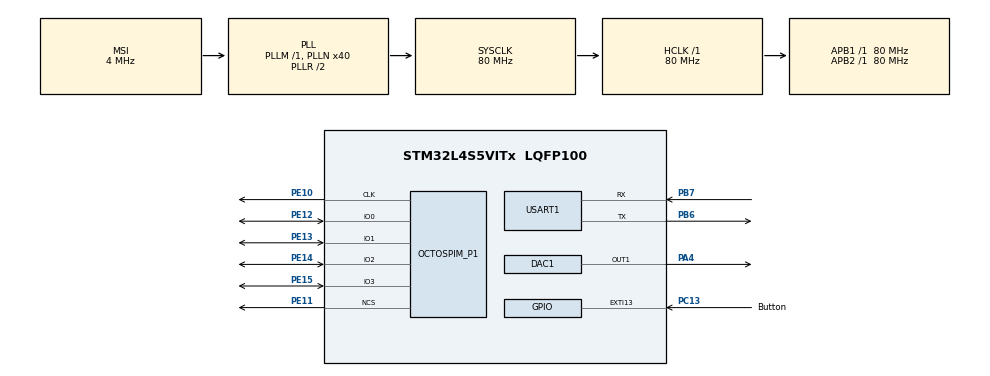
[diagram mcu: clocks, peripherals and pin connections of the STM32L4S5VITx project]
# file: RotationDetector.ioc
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ADC1.Channel-1\#ChannelRegularConversion=ADC_CHANNEL_TEMPSENSOR
ADC1.NbrOfConversionFlag=1
ADC1.OffsetNumber-1\#ChannelRegularConversion=ADC_OFFSET_NONE
ADC1.Rank-1\#ChannelRegularConversion=1
ADC1.SamplingTime-1\#ChannelRegularConversion=ADC_SAMPLETIME_2CYCLES_5
ADC1.master=1
DAC1.DAC_Trigger-DAC_OUT1=DAC_TRIGGER_T2_TRGO
Dma.DAC1_CH1.0.Direction=DMA_MEMORY_TO_PERIPH
Dma.DAC1_CH1.0.EventEnable=DISABLE
Dma.DAC1_CH1.0.Instance=DMA1_Channel3
Dma.DAC1_CH1.0.MemDataAlignment=DMA_MDATAALIGN_BYTE
Dma.DAC1_CH1.0.MemInc=DMA_MINC_ENABLE
Dma.DAC1_CH1.0.Mode=DMA_NORMAL
Dma.DAC1_CH1.0.PeriphDataAlignment=DMA_PDATAALIGN_BYTE
Dma.DAC1_CH1.0.PeriphInc=DMA_PINC_DISABLE
Dma.DAC1_CH1.0.Polarity=HAL_DMAMUX_REQUEST_GEN_RISING
Dma.DAC1_CH1.0.Priority=DMA_PRIORITY_HIGH
Dma.DAC1_CH1.0.RequestNumber=1
Dma.DAC1_CH1.0.SignalID=NONE
Dma.DAC1_CH1.0.SyncEnable=DISABLE
Dma.DAC1_CH1.0.SyncPolarity=HAL_DMAMUX_SYNC_NO_EVENT
Dma.DAC1_CH1.0.SyncRequestNumber=1
Dma.DAC1_CH1.0.SyncSignalID=NONE
Dma.Request0=DAC1_CH1
FREERTOS.Tasks01=gameLogic,0,128,StartDefaultTask,Default,NULL,Dynamic,NULL,NULL;SensorPolls,0,128,StartTask02,Default,NULL,Dynamic,NULL,NULL
Mcu.Family=STM32L4
Mcu.Name=STM32L4S5VITx
Mcu.Package=LQFP100
NVIC.DMA1_Channel3_IRQn=true\:5\:0\:false\:false\:true\:false\:false\:true
NVIC.EXTI15_10_IRQn=true\:5\:0\:false\:false\:true\:true\:true\:true
NVIC.PriorityGroup=NVIC_PRIORITYGROUP_4
NVIC.TIM6_DAC_IRQn=true\:15\:0\:false\:false\:true\:false\:false\:true
NVIC.TimeBase=TIM6_DAC_IRQn
NVIC.TimeBaseIP=TIM6
OCTOSPI1.DeviceSize=22
OCTOSPI1.MemoryType=HAL_OSPI_MEMTYPE_MACRONIX
PA4.Signal=COMP_DAC11_group
PB6.Mode=Asynchronous
PB6.Signal=USART1_TX
PB7.Mode=Asynchronous
PB7.Signal=USART1_RX
PC13.GPIO_Label=Button
PC13.GPIO_ModeDefaultEXTI=GPIO_MODE_IT_FALLING
PC13.Signal=GPXTI13
PE10.Mode=O1_P1_CLK
PE10.Signal=OCTOSPIM_P1_CLK
PE11.Mode=OCTOSPI1_Port1_NCS
PE11.Signal=OCTOSPIM_P1_NCS
PE12.Mode=OCTOSPI1_IOL_Port1L
PE12.Signal=OCTOSPIM_P1_IO0
PE13.Mode=OCTOSPI1_IOL_Port1L
PE13.Signal=OCTOSPIM_P1_IO1
PE14.Mode=OCTOSPI1_IOL_Port1L
PE14.Signal=OCTOSPIM_P1_IO2
PE15.Mode=OCTOSPI1_IOL_Port1L
PE15.Signal=OCTOSPIM_P1_IO3
ProjectManager.HeapSize=0x200
ProjectManager.StackSize=0x400
ProjectManager.TargetToolchain=STM32CubeIDE
RCC.ADCFreq_Value=32000000
RCC.AHBFreq_Value=80000000
RCC.APB1Freq_Value=80000000
RCC.APB1TimFreq_Value=80000000
RCC.APB2Freq_Value=80000000
RCC.APB2TimFreq_Value=80000000
RCC.CortexFreq_Value=80000000
RCC.HCLKFreq_Value=80000000
RCC.HSE_VALUE=8000000
RCC.HSI48_VALUE=48000000
RCC.HSI_VALUE=16000000
RCC.LSE_VALUE=32768
RCC.MSI_VALUE=4000000
RCC.PLLN=40
RCC.PLLSAI1N=16
RCC.SYSCLKFreq_VALUE=80000000
RCC.SYSCLKSource=RCC_SYSCLKSOURCE_PLLCLK
RCC.USBFreq_Value=32000000
RCC.VCOOutputFreq_Value=160000000
SH.COMP_DAC11_group.0=DAC1_OUT1,DAC_OUT1
TIM2.Period=1813
TIM2.TIM_MasterOutputTrigger=TIM_TRGO_UPDATE
USART1.VirtualMode-Asynchronous=VM_ASYNC
VP_ADC1_TempSens_Input.Mode=IN-TempSens
VP_FREERTOS_VS_CMSIS_V1.Mode=CMSIS_V1
VP_OCTOSPI1_VS_quad.Mode=quad_mode
VP_RNG_VS_RNG.Mode=RNG_Activate
VP_SYS_VS_tim6.Mode=TIM6
VP_TIM2_VS_ClockSourceINT.Mode=Internal
board=B-L4S5I-IOT01A

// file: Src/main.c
/* USER CODE BEGIN Header */
/**
 ******************************************************************************
 * @file           : main.c
 * @brief          : Main program body
 ******************************************************************************
 * @attention
 *
 * Copyright (c) 2022 STMicroelectronics.
 * All rights reserved.
 *
 * This software is licensed under terms that can be found in the LICENSE file
 * in the root directory of this software component.
 * If no LICENSE file comes with this software, it is provided AS-IS.
 *
 ******************************************************************************
 */
/* USER CODE END Header */
#include "main.h"
#include "cmsis_os.h"
#include "adc.h"
#include "dac.h"
#include "dma.h"
#include "octospi.h"
#include "rng.h"
#include "tim.h"
#include "usart.h"
#include "gpio.h"

/* USER CODE BEGIN Includes */
#define DEBUG_THIS_FILE     DEBUG_MAIN_FILE
#include "debug.h"
#include "audio_playback.h"

/* USER CODE END Includes */

/* USER CODE BEGIN PV */
// static int bopped = 0;

/* USER CODE END PV */

void SystemClock_Config(void);
void PeriphCommonClock_Config(void);
void MX_FREERTOS_Init(void);

/* USER CODE BEGIN 0 */

// void HAL_GPIO_EXTI_Callback(uint16_t GPIO_Pin){

// 	bopped = 1;
// }

/* USER CODE END 0 */

int main(void)
{

  /* MCU Configuration--------------------------------------------------------*/

  /* Reset of all peripherals, Initializes the Flash interface and the Systick. */
  HAL_Init();

  /* Configure the system clock */
  SystemClock_Config();

/* Configure the peripherals common clocks */
  PeriphCommonClock_Config();

  /* Initialize all configured peripherals */
  MX_GPIO_Init();
  MX_USART1_UART_Init();
  MX_DMA_Init();
  MX_DAC1_Init();
  MX_TIM2_Init();
  MX_RNG_Init();
  MX_OCTOSPI1_Init();
  MX_ADC1_Init();
  /* USER CODE BEGIN 2 */
  printf("\n\n\nHello, Welcome to the Bop It game\r\n");

  debugf("Initialising...\r\n");
	BSP_ACCELERO_Init();
	BSP_GYRO_Init();
  Audio_Init();
  ADC1_Init_Temperature();

	HAL_TIM_Base_Start(&htim2);

  /* USER CODE END 2 */

  /* Call init function for freertos objects (in freertos.c) */
  MX_FREERTOS_Init();
  /* Start scheduler */
  osKernelStart();

  /* We should never get here as control is now taken by the scheduler */
  /* Infinite loop */
  /* USER CODE BEGIN WHILE */
	while (1)
	{

		//		if(buttonPressed == 1){
		//			HAL_DAC_Start_DMA(&hdac1, DAC1_CHANNEL_1, bop_it_sample, bop_it_sample_length, DAC_ALIGN_8B_R);
		//			buttonPressed = 0;
		//		}

		//
    /* USER CODE END WHILE */

  }
}

void SystemClock_Config(void)
{
  RCC_OscInitTypeDef RCC_OscInitStruct = {0};
  RCC_ClkInitTypeDef RCC_ClkInitStruct = {0};

  /** Configure the main internal regulator output voltage
  */
  if (HAL_PWREx_ControlVoltageScaling(PWR_REGULATOR_VOLTAGE_SCALE1) != HAL_OK)
  {
    Error_Handler();
  }
  /** Initializes the RCC Oscillators according to the specified parameters
  * in the RCC_OscInitTypeDef structure.
  */
  RCC_OscInitStruct.OscillatorType = RCC_OSCILLATORTYPE_MSI;
  RCC_OscInitStruct.MSIState = RCC_MSI_ON;
  RCC_OscInitStruct.MSICalibrationValue = 0;
  RCC_OscInitStruct.MSIClockRange = RCC_MSIRANGE_6;
  RCC_OscInitStruct.PLL.PLLState = RCC_PLL_ON;
  RCC_OscInitStruct.PLL.PLLSource = RCC_PLLSOURCE_MSI;
  RCC_OscInitStruct.PLL.PLLM = 1;
  RCC_OscInitStruct.PLL.PLLN = 40;
  RCC_OscInitStruct.PLL.PLLP = RCC_PLLP_DIV2;
  RCC_OscInitStruct.PLL.PLLQ = RCC_PLLQ_DIV2;
  RCC_OscInitStruct.PLL.PLLR = RCC_PLLR_DIV2;
  if (HAL_RCC_OscConfig(&RCC_OscInitStruct) != HAL_OK)
  {
    Error_Handler();
  }
  /** Initializes the CPU, AHB and APB buses clocks
  */
  RCC_ClkInitStruct.ClockType = RCC_CLOCKTYPE_HCLK|RCC_CLOCKTYPE_SYSCLK
                              |RCC_CLOCKTYPE_PCLK1|RCC_CLOCKTYPE_PCLK2;
  RCC_ClkInitStruct.SYSCLKSource = RCC_SYSCLKSOURCE_PLLCLK;
  RCC_ClkInitStruct.AHBCLKDivider = RCC_SYSCLK_DIV1;
  RCC_ClkInitStruct.APB1CLKDivider = RCC_HCLK_DIV1;
  RCC_ClkInitStruct.APB2CLKDivider = RCC_HCLK_DIV1;

  if (HAL_RCC_ClockConfig(&RCC_ClkInitStruct, FLASH_LATENCY_3) != HAL_OK)
  {
    Error_Handler();
  }
}

void PeriphCommonClock_Config(void)
{
  RCC_PeriphCLKInitTypeDef PeriphClkInit = {0};

  /** Initializes the peripherals clock
  */
  PeriphClkInit.PeriphClockSelection = RCC_PERIPHCLK_RNG|RCC_PERIPHCLK_ADC;
  PeriphClkInit.AdcClockSelection = RCC_ADCCLKSOURCE_PLLSAI1;
  PeriphClkInit.RngClockSelection = RCC_RNGCLKSOURCE_PLLSAI1;
  PeriphClkInit.PLLSAI1.PLLSAI1Source = RCC_PLLSOURCE_MSI;
  PeriphClkInit.PLLSAI1.PLLSAI1M = 1;
  PeriphClkInit.PLLSAI1.PLLSAI1N = 16;
  PeriphClkInit.PLLSAI1.PLLSAI1P = RCC_PLLP_DIV2;
  PeriphClkInit.PLLSAI1.PLLSAI1Q = RCC_PLLQ_DIV2;
  PeriphClkInit.PLLSAI1.PLLSAI1R = RCC_PLLR_DIV2;
  PeriphClkInit.PLLSAI1.PLLSAI1ClockOut = RCC_PLLSAI1_48M2CLK|RCC_PLLSAI1_ADC1CLK;
  if (HAL_RCCEx_PeriphCLKConfig(&PeriphClkInit) != HAL_OK)
  {
    Error_Handler();
  }
}

void HAL_TIM_PeriodElapsedCallback(TIM_HandleTypeDef *htim)
{
  if (htim->Instance == TIM6) {
    HAL_IncTick();
  }
}

void Error_Handler(void)
{
	__disable_irq();
	while (1)
	{
	}
}

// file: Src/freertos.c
/* USER CODE BEGIN Header */
/**
  ******************************************************************************
  * File Name          : freertos.c
  * Description        : Code for freertos applications
  ******************************************************************************
  * @attention
  *
  * Copyright (c) 2022 STMicroelectronics.
  * All rights reserved.
  *
  * This software is licensed under terms that can be found in the LICENSE file
  * in the root directory of this software component.
  * If no LICENSE file comes with this software, it is provided AS-IS.
  *
  ******************************************************************************
  */
/* USER CODE END Header */

#include "FreeRTOS.h"
#include "task.h"
#include "main.h"
#include "cmsis_os.h"

/* USER CODE BEGIN Includes */
#define DEBUG_THIS_FILE    DEBUG_FREERTOS_FILE
#include "debug.h"
#include "rng.h"
#include "audio_playback.h"
#include "adc.h"

/* USER CODE END Includes */

/* USER CODE BEGIN PD */
#define NUM_ACTIONS   (6)
/* USER CODE END PD */

/* USER CODE BEGIN Variables */
int buttonPressed = 0;
int twisted = 0;
int bopped = 0;
int blown = 0;
int listenBlow = 0;
int cooldown = 0;
int temp = 10000;

int16_t accXYZ[3];
float gyroXYZ[3];
int threshold = 400000;
/* USER CODE END Variables */
osThreadId gameLogicHandle;
osThreadId SensorPollsHandle;

void StartDefaultTask(void const * argument);
void StartTask02(void const * argument);

void MX_FREERTOS_Init(void); /* (MISRA C 2004 rule 8.1) */

/* GetIdleTaskMemory prototype (linked to static allocation support) */
void vApplicationGetIdleTaskMemory( StaticTask_t **ppxIdleTaskTCBBuffer, StackType_t **ppxIdleTaskStackBuffer, uint32_t *pulIdleTaskStackSize );

/* USER CODE BEGIN GET_IDLE_TASK_MEMORY */
static StaticTask_t xIdleTaskTCBBuffer;
static StackType_t xIdleStack[configMINIMAL_STACK_SIZE];

void vApplicationGetIdleTaskMemory( StaticTask_t **ppxIdleTaskTCBBuffer, StackType_t **ppxIdleTaskStackBuffer, uint32_t *pulIdleTaskStackSize )
{
  *ppxIdleTaskTCBBuffer = &xIdleTaskTCBBuffer;
  *ppxIdleTaskStackBuffer = &xIdleStack[0];
  *pulIdleTaskStackSize = configMINIMAL_STACK_SIZE;
  /* place for user code */
}
/* USER CODE END GET_IDLE_TASK_MEMORY */

void MX_FREERTOS_Init(void) {

  /* Create the thread(s) */
  /* definition and creation of gameLogic */
  osThreadDef(gameLogic, StartDefaultTask, osPriorityNormal, 0, 128);
  gameLogicHandle = osThreadCreate(osThread(gameLogic), NULL);

  /* definition and creation of SensorPolls */
  osThreadDef(SensorPolls, StartTask02, osPriorityNormal, 0, 128);
  SensorPollsHandle = osThreadCreate(osThread(SensorPolls), NULL);

}

void StartDefaultTask(void const * argument)
{
  /* USER CODE BEGIN StartDefaultTask */
  uint8_t successfull_actions = 0;
  play_start_part1_sample();
  osDelay(1400);
  play_start_part2_sample();
  osDelay(1500);
  /* Infinite loop */
  for(;;)
  {

    // generate a random number, take the modulo 3 to obtain either 0 or 1
    uint32_t randomValue = 0;
    HAL_RNG_GenerateRandomNumber(&hrng, &randomValue);
    randomValue = randomValue%3;
    debugf("Random Number is = %ld\r\n", randomValue);
    if(randomValue == 0 && cooldown == 0){ // Blow It
      printf("Blow It\n");
      play_blow_it_sample();
      cooldown = 5;
      temp = get_temperature();
      printf("%d\n",temp);
      listenBlow = 1;
      osDelay(5000);
      if(bopped == 0 && twisted == 0 && blown == 1){
        successfull_actions++;
        play_success_sample();
        listenBlow = 0;
        osDelay(400); // success sample is 300ms long, waiting for it to play out
      }else {
        play_fail_sample();
        printf("GAME ENDED\r\n");
        break;
      }
    }else if(randomValue == 1){ // Bop It
      printf("Bop It\n");
      play_bop_it_sample();
      osDelay(2000);
      if (cooldown > 0){
        cooldown = cooldown - 1;
      }
      if(bopped == 1 && twisted == 0 && blown ==0){
        successfull_actions++;
        play_success_sample();
        osDelay(400); // success sample is 300ms long, waiting for it to play out
      }else {
        play_fail_sample();
        printf("GAME ENDED\r\n");
        break;
      }
    }else { // Twist It
      printf("Twist It\n");
      play_twist_it_sample();
      osDelay(2000);
      if (cooldown > 0){
        cooldown = cooldown - 1;
      }
      if(bopped == 0 && twisted == 1 && blown ==0){
        successfull_actions++;
        play_success_sample();
        osDelay(400);
      }else {
        play_fail_sample();
        printf("GAME ENDED\r\n");
        break;
      }
    }
    bopped = 0;
    twisted = 0;
    blown = 0;

    if (successfull_actions == NUM_ACTIONS) {
      printf("WON!!!!\n");
      play_success_sample();
      osDelay(250);
      play_success_sample();
      osDelay(250);
      play_success_sample();
      osDelay(250);
      play_win_sample();
      break;
    }

  }
  /* USER CODE END StartDefaultTask */
}

void StartTask02(void const * argument)
{
  /* USER CODE BEGIN StartTask02 */
  /* Infinite loop */
  for(;;)
  {
    BSP_GYRO_GetXYZ(gyroXYZ);

    // if the gyroscope reads a value greater than the threshold then set "Twisted" to 1
    if(gyroXYZ[0]<-threshold || gyroXYZ[0]>threshold || gyroXYZ[1]<-threshold || gyroXYZ[1]>threshold || gyroXYZ[2]<-threshold || gyroXYZ[2]>threshold){
      printf("HARD TWIST DETECTED!!!!!\r\n");
      twisted = 1;
    }
    int temp2 = get_temperature();
    if (listenBlow == 0) {
      temp = temp2;
    }
    else if(temp2 > temp && temp2<1000 && blown == 0){
      printf("Blowing detected! %d \n",temp2);
      blown = 1;
    }

    osDelay(10);

  }
  /* USER CODE END StartTask02 */
}

/* USER CODE BEGIN Application */
void HAL_GPIO_EXTI_Callback(uint16_t GPIO_Pin) {

  bopped = 1;
}
/* USER CODE END Application */
